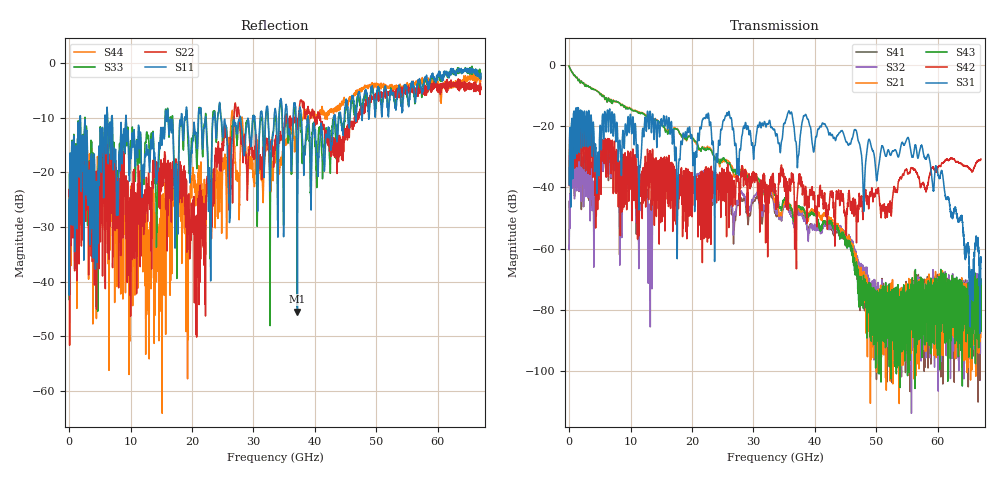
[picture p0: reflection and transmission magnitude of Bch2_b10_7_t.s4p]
!Agilent Technologies,N5247A,US51170199,A.09.90.13
!Agilent N5247A: A.09.90.13
!Date: Tuesday, October 23, 2018 10:44:48
!Correction: S11(Full 4 Port(1,2,3,4))
!S12(Full 4 Port(1,2,3,4))
!S13(Full 4 Port(1,2,3,4))
!S14(Full 4 Port(1,2,3,4))
!S21(Full 4 Port(1,2,3,4))
!S22(Full 4 Port(1,2,3,4))
!S23(Full 4 Port(1,2,3,4))
!S24(Full 4 Port(1,2,3,4))
!S31(Full 4 Port(1,2,3,4))
!S32(Full 4 Port(1,2,3,4))
!S33(Full 4 Port(1,2,3,4))
!S34(Full 4 Port(1,2,3,4))
!S41(Full 4 Port(1,2,3,4))
!S42(Full 4 Port(1,2,3,4))
!S43(Full 4 Port(1,2,3,4))
!S44(Full 4 Port(1,2,3,4))
!S4P File: Measurements: <S11,S12,S13,S14>,
!<S21,S22,S23,S24>,
!<S31,S32,S33,S34>,
!<S41,S42,S43,S44>:
# Hz S  dB  R 50
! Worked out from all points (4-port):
!   6701 points, 10 MHz to 67 GHz, reference 50 ohm
!   strongest paths, dB at 10 MHz, 16.76 GHz, 33.51 GHz, 50.25 GHz, 67 GHz:
!     S31: -39.2, -23.4, -21.9, -34.8, -62.9
!     S42: -39.4, -42.5, -39.2, -40.9, -30.8
!     S43: -0.5, -22.0, -42.3, -74.9, -76.3
!     S21: -0.5, -21.3, -44.8, -76.1, -71.2
!     S32: -59.0, -40.5, -47.5, -71.0, -69.9
!     S41: -59.1, -42.1, -48.1, -88.6, -79.2
!   lowest |S11| = -45.5 dB at 37.15 GHz (marker M1), VSWR 1.01, Z = 50 - j0.531 ohm
!   |S11| at or under -10 dB: 1.842 GHz to 5.809 GHz (3.967 GHz wide, 104 % of centre); 9.296 GHz to 15.62 GHz (6.326 GHz wide, 50.8 % of centre); 38.92 GHz to 43.06 GHz (4.138 GHz wide, 10.1 % of centre)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
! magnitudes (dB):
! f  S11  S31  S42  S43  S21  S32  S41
! 10 MHz  -25.1  -39.2  -39.4  -0.5  -0.5  -59.0  -59.1
! 6.019 GHz  -14.9  -22.0  -34.7  -10.8  -10.8  -32.8  -33.9
! 13.2 GHz  -16.8  -15.3  -31.1  -17.7  -17.4  -69.0  -54.0
! 14.85 GHz  -13.2  -19.6  -31.3  -19.2  -19.3  -32.5  -32.6
! 37.15 GHz  -45.5  -33.5  -41.8  -46.1  -46.5  -47.9  -47.2
! 57.35 GHz  -5.0  -26.3  -39.0  -79.6  -83.7  -80.7  -81.8
! 67 GHz  -1.9  -62.9  -30.8  -76.3  -71.2  -69.9  -79.2
